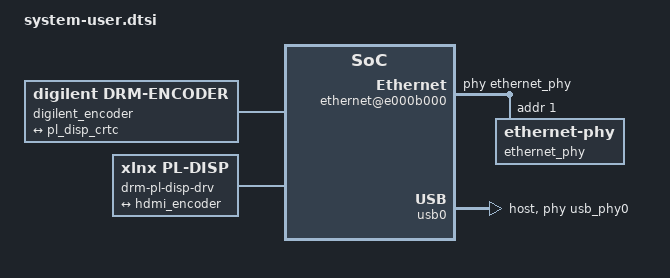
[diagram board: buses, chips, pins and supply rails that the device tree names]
/include/ "system-conf.dtsi"
/ {
	usb_phy0: phy0@e0002000 {
		compatible = "xlnx,zynq-usb-2.20.a", "ulpi-phy";
		#phy-cells = <0>;
		reg = <0xe0002000 0x1000>;
		view-port = <0x0170>;
		drv-vbus;
	};
};

&axi_dynclk_0 {
	compatible = "xlnx,axi-dynclk-1.2","digilent,axi-dynclk";
	#clock-cells = <0x0>;
	clocks = <&clkc 15>, <&clkc 15>;
	clock-output-names = "digilent-dynamic-clock";
};

&v_frmbuf_rd_0 {
    reset-gpios = <&gpio0 54 1>;
};

&v_tc_0 {
	compatible = "xlnx,v-tc-6.2", "xlnx,v-tc-6.1", "xlnx,bridge-v-tc-6.1";
	xlnx,pixels-per-clock = <1>;
	clocks = <&misc_clk_0>, <&clkc 15>, <&axi_dynclk_0>;
};

&amba {
	ethernet@e000b000 {
		phy-handle = <&ethernet_phy>;
		ethernet_phy: ethernet-phy@1 {
			reg = <1>;
		};
	};
};

&amba_pl {
	digilent_encoder {
		compatible = "digilent,drm-encoder";
		clocks = <&axi_dynclk_0>;
		clock-names = "pixel-clk";
		digilent,fmax = <150000>;
		digilent,hmax = <1920>;
		digilent,vmax = <1080>;
		digilent,hpref = <1280>;
		digilent,vpref = <720>;	
		digilent,clk-baseaddr = <0x43c00000>;
		digilent,edid-i2c = <&i2c0>;

		#address-cell = <1>;
		#size-cell = <0>;
		ports {
			#address-cell = <1>;
			#size-cell = <0>;
			port@0 {
				reg = <0>;
				hdmi_encoder: endpoint {
				remote-endpoint = <&pl_disp_crtc>;
				};
			};
		};
	};


	drm-pl-disp-drv {
		compatible = "xlnx,pl-disp";
		dmas = <&v_frmbuf_rd_0 0>;
		dma-names = "dma0";
		xlnx,vformat = "AR24";
		xlnx,bridge = <&v_tc_0>;
		#address-cells = <1>;
		#size-cells = <0>;
        	status = "okay";

		pl_display_port: port@0 {
			reg = <0>;
			pl_disp_crtc: endpoint {
				remote-endpoint = <&hdmi_encoder>;
			};
		};
	};
};

&usb0 {
	dr_mode = "host";
	usb-phy = <&usb_phy0>;
};

&axi_intc_0 {
	interrupt-names = "irq";
      	interrupt-parent = <&intc>;
      	interrupts = <0 29 4>;
	xlnx,kind-of-intr = <0x0>;
      	xlnx,num-intr-inputs = <0x20>;
};
